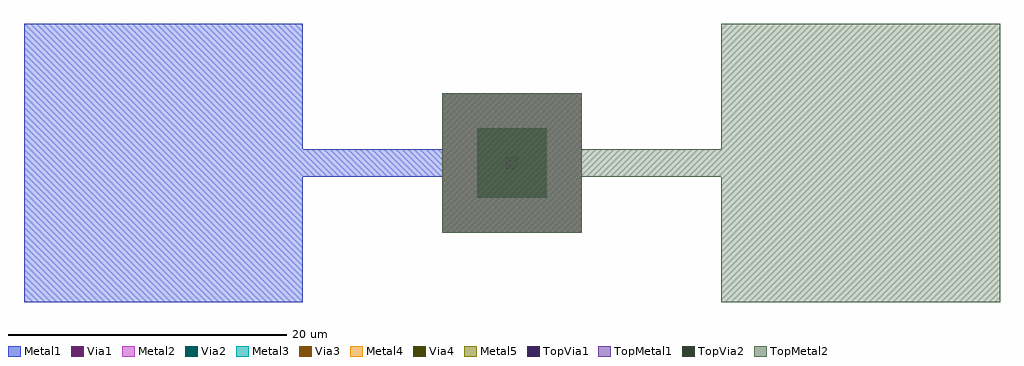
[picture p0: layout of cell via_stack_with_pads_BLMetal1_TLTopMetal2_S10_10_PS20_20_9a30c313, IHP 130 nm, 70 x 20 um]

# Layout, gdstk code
import gdstk
lib = gdstk.Library(unit=1e-6, precision=1e-09)
def R(c, l, rs):  # rectangles x0, y0, x1, y1
    for r in rs: c.add(gdstk.rectangle(r[:2], r[2:], *l))
Metal1 = (8, 0)
Metal2 = (10, 0)
Via1 = (19, 0)
Via2 = (29, 0)
Metal3 = (30, 0)
Via3 = (49, 0)
Metal4 = (50, 0)
Via4 = (66, 0)
Metal5 = (67, 0)
TopVia1 = (125, 0)
TopMetal1 = (126, 0)
TopVia2 = (133, 0)
TopMetal2 = (134, 0)

rectangle_gdsfactorypcom = lib.new_cell('rectangle_gdsfactorypcomponentspshapesprectangle_S10_10_33ee6a25')
R(rectangle_gdsfactorypcom, Metal1, [(-5,-5,5,5)])

c_rectangle_gdsfactorypcom = lib.new_cell('rectangle_gdsfactorypcomponentspshapesprectangle_S10_10_ba3edd5f')
R(c_rectangle_gdsfactorypcom, Metal2, [(-5,-5,5,5)])

c_rectangle_gdsfactorypcom_ = lib.new_cell('rectangle_gdsfactorypcomponentspshapesprectangle_S10_10_741efeb4')
R(c_rectangle_gdsfactorypcom_, Metal3, [(-5,-5,5,5)])

c_rectangle_gdsfactorypcom__ = lib.new_cell('rectangle_gdsfactorypcomponentspshapesprectangle_S10_10_894d7014')
R(c_rectangle_gdsfactorypcom__, Metal4, [(-5,-5,5,5)])

c_rectangle_gdsfactorypcom___ = lib.new_cell('rectangle_gdsfactorypcomponentspshapesprectangle_S10_10_aae62b3d')
R(c_rectangle_gdsfactorypcom___, Metal5, [(-5,-5,5,5)])

c_rectangle_gdsfactorypcom____ = lib.new_cell('rectangle_gdsfactorypcomponentspshapesprectangle_S10_10_ef94ac30')
R(c_rectangle_gdsfactorypcom____, TopMetal1, [(-5,-5,5,5)])

c_rectangle_gdsfactorypcom_____ = lib.new_cell('rectangle_gdsfactorypcomponentspshapesprectangle_S10_10_2a2b4e8d')
R(c_rectangle_gdsfactorypcom_____, TopMetal2, [(-5,-5,5,5)])

c_rectangle_gdsfactorypcom______ = lib.new_cell('rectangle_gdsfactorypcomponentspshapesprectangle_S0p26__6e8be91d')
R(c_rectangle_gdsfactorypcom______, Via1, [(0,0,0.26,0.26)])

via_array_vtvia1_c2_r2_v = lib.new_cell('via_array_VTVia1_C2_R2_VS0p26_VS0p36_VE0p06_LVVia1drawi_d3b43549')
via_array_vtvia1_c2_r2_v.add(gdstk.Reference(c_rectangle_gdsfactorypcom______, (0,0)))
via_array_vtvia1_c2_r2_v.add(gdstk.Reference(c_rectangle_gdsfactorypcom______, (0,0.36)))
via_array_vtvia1_c2_r2_v.add(gdstk.Reference(c_rectangle_gdsfactorypcom______, (0.36,0)))
via_array_vtvia1_c2_r2_v.add(gdstk.Reference(c_rectangle_gdsfactorypcom______, (0.36,0.36)))

c_rectangle_gdsfactorypcom_______ = lib.new_cell('rectangle_gdsfactorypcomponentspshapesprectangle_S0p26__938c5197')
R(c_rectangle_gdsfactorypcom_______, Via2, [(0,0,0.26,0.26)])

via_array_vtvia2_c2_r2_v = lib.new_cell('via_array_VTVia2_C2_R2_VS0p26_VS0p36_VE0p06_LVVia1drawi_fe1324aa')
via_array_vtvia2_c2_r2_v.add(gdstk.Reference(c_rectangle_gdsfactorypcom_______, (0,0)))
via_array_vtvia2_c2_r2_v.add(gdstk.Reference(c_rectangle_gdsfactorypcom_______, (0,0.36)))
via_array_vtvia2_c2_r2_v.add(gdstk.Reference(c_rectangle_gdsfactorypcom_______, (0.36,0)))
via_array_vtvia2_c2_r2_v.add(gdstk.Reference(c_rectangle_gdsfactorypcom_______, (0.36,0.36)))

c_rectangle_gdsfactorypcom________ = lib.new_cell('rectangle_gdsfactorypcomponentspshapesprectangle_S0p26__aabd8f97')
R(c_rectangle_gdsfactorypcom________, Via3, [(0,0,0.26,0.26)])

via_array_vtvia3_c2_r2_v = lib.new_cell('via_array_VTVia3_C2_R2_VS0p26_VS0p36_VE0p06_LVVia1drawi_baaf429b')
via_array_vtvia3_c2_r2_v.add(gdstk.Reference(c_rectangle_gdsfactorypcom________, (0,0)))
via_array_vtvia3_c2_r2_v.add(gdstk.Reference(c_rectangle_gdsfactorypcom________, (0,0.36)))
via_array_vtvia3_c2_r2_v.add(gdstk.Reference(c_rectangle_gdsfactorypcom________, (0.36,0)))
via_array_vtvia3_c2_r2_v.add(gdstk.Reference(c_rectangle_gdsfactorypcom________, (0.36,0.36)))

c_rectangle_gdsfactorypcom_________ = lib.new_cell('rectangle_gdsfactorypcomponentspshapesprectangle_S0p26__5aad903e')
R(c_rectangle_gdsfactorypcom_________, Via4, [(0,0,0.26,0.26)])

via_array_vtvia4_c2_r2_v = lib.new_cell('via_array_VTVia4_C2_R2_VS0p26_VS0p36_VE0p06_LVVia1drawi_f90de58c')
via_array_vtvia4_c2_r2_v.add(gdstk.Reference(c_rectangle_gdsfactorypcom_________, (0,0)))
via_array_vtvia4_c2_r2_v.add(gdstk.Reference(c_rectangle_gdsfactorypcom_________, (0,0.36)))
via_array_vtvia4_c2_r2_v.add(gdstk.Reference(c_rectangle_gdsfactorypcom_________, (0.36,0)))
via_array_vtvia4_c2_r2_v.add(gdstk.Reference(c_rectangle_gdsfactorypcom_________, (0.36,0.36)))

c_rectangle_gdsfactorypcom__________ = lib.new_cell('rectangle_gdsfactorypcomponentspshapesprectangle_S0p9_0_7d72fcbf')
R(c_rectangle_gdsfactorypcom__________, TopVia1, [(0,0,0.9,0.9)])

via_array_vttopvia1_c1_r = lib.new_cell('via_array_VTTopVia1_C1_R1_VS0p9_VS0p9_VE0p3_LVVia1drawi_ad4019c1')
via_array_vttopvia1_c1_r.add(gdstk.Reference(c_rectangle_gdsfactorypcom__________, (0,0)))

c_rectangle_gdsfactorypcom___________ = lib.new_cell('rectangle_gdsfactorypcomponentspshapesprectangle_S5_5_L_0dfc6c4e')
R(c_rectangle_gdsfactorypcom___________, TopVia2, [(0,0,5,5)])

via_array_vttopvia2_c1_r = lib.new_cell('via_array_VTTopVia2_C1_R1_VS5_VS5_VE1_LVVia1drawing_LVV_e21019c3')
via_array_vttopvia2_c1_r.add(gdstk.Reference(c_rectangle_gdsfactorypcom___________, (0,0)))

via_stack_blmetal1_tltop = lib.new_cell('via_stack_BLMetal1_TLTopMetal2_S10_10_VC2_VR2_VC1_VR1_V_6a4082e9')
via_stack_blmetal1_tltop.add(gdstk.Reference(rectangle_gdsfactorypcom, (0,0)))
via_stack_blmetal1_tltop.add(gdstk.Reference(c_rectangle_gdsfactorypcom, (0,0)))
via_stack_blmetal1_tltop.add(gdstk.Reference(c_rectangle_gdsfactorypcom_, (0,0)))
via_stack_blmetal1_tltop.add(gdstk.Reference(c_rectangle_gdsfactorypcom__, (0,0)))
via_stack_blmetal1_tltop.add(gdstk.Reference(c_rectangle_gdsfactorypcom___, (0,0)))
via_stack_blmetal1_tltop.add(gdstk.Reference(c_rectangle_gdsfactorypcom____, (0,0)))
via_stack_blmetal1_tltop.add(gdstk.Reference(c_rectangle_gdsfactorypcom_____, (0,0)))
via_stack_blmetal1_tltop.add(gdstk.Reference(via_array_vtvia1_c2_r2_v, (-0.31,-0.31)))
via_stack_blmetal1_tltop.add(gdstk.Reference(via_array_vtvia2_c2_r2_v, (-0.31,-0.31)))
via_stack_blmetal1_tltop.add(gdstk.Reference(via_array_vtvia3_c2_r2_v, (-0.31,-0.31)))
via_stack_blmetal1_tltop.add(gdstk.Reference(via_array_vtvia4_c2_r2_v, (-0.31,-0.31)))
via_stack_blmetal1_tltop.add(gdstk.Reference(via_array_vttopvia1_c1_r, (-0.45,-0.45)))
via_stack_blmetal1_tltop.add(gdstk.Reference(via_array_vttopvia2_c1_r, (-2.5,-2.5)))

c_rectangle_gdsfactorypcom____________ = lib.new_cell('rectangle_gdsfactorypcomponentspshapesprectangle_S20_20_c3df772b')
R(c_rectangle_gdsfactorypcom____________, Metal1, [(-10,-10,10,10)])

c_rectangle_gdsfactorypcom_____________ = lib.new_cell('rectangle_gdsfactorypcomponentspshapesprectangle_S20_20_266fc76d')
R(c_rectangle_gdsfactorypcom_____________, TopMetal2, [(-10,-10,10,10)])

c_rectangle_gdsfactorypcom______________ = lib.new_cell('rectangle_gdsfactorypcomponentspshapesprectangle_S20_2__945cdf89')
R(c_rectangle_gdsfactorypcom______________, Metal1, [(0,0,20,2)])

c_rectangle_gdsfactorypcom_______________ = lib.new_cell('rectangle_gdsfactorypcomponentspshapesprectangle_S20_2__e9863b6a')
R(c_rectangle_gdsfactorypcom_______________, TopMetal2, [(0,0,20,2)])

via_stack_with_pads_blme = lib.new_cell('via_stack_with_pads_BLMetal1_TLTopMetal2_S10_10_PS20_20_9a30c313')
via_stack_with_pads_blme.add(gdstk.Reference(via_stack_blmetal1_tltop, (0,0)))
via_stack_with_pads_blme.add(gdstk.Reference(c_rectangle_gdsfactorypcom____________, (-25,0)))
via_stack_with_pads_blme.add(gdstk.Reference(c_rectangle_gdsfactorypcom_____________, (25,0)))
via_stack_with_pads_blme.add(gdstk.Reference(c_rectangle_gdsfactorypcom______________, (-25,-1)))
via_stack_with_pads_blme.add(gdstk.Reference(c_rectangle_gdsfactorypcom_______________, (5,-1)))

lib.write_gds('via_stack_with_pads_BLMetal1_TLTopMetal2_S10_10_PS20_20_9a30c313.gds')
